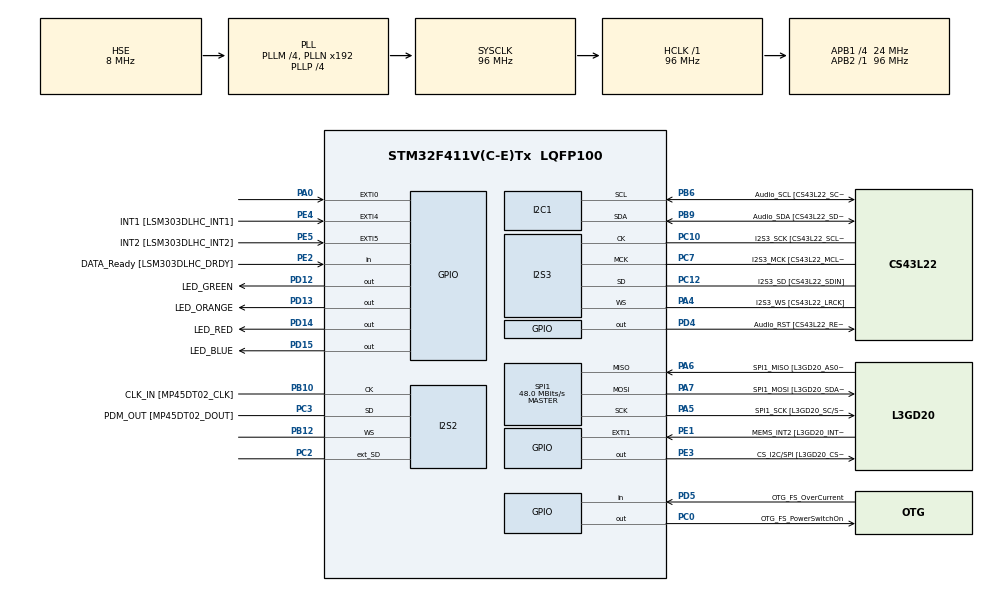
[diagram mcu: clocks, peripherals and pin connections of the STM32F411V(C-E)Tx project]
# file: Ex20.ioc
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FREERTOS.INCLUDE_vTaskDelayUntil=1
FREERTOS.Queues01=QS2R,1,uint16_t,0,Dynamic,NULL,NULL
FREERTOS.Tasks01=Command,0,128,CommandTask,Default,NULL,Dynamic,NULL,NULL;LedFlashing,0,128,LedFlashingTask,Default,NULL,Dynamic,NULL,NULL
FREERTOS.configUSE_NEWLIB_REENTRANT=1
I2S2.AudioFreq=I2S_AUDIOFREQ_96K
I2S2.ErrorAudioFreq=0.15 %
I2S2.FullDuplexMode=I2S_FULLDUPLEXMODE_ENABLE
I2S2.Instance=SPI$Index
I2S2.RealAudioFreq=96.153 KHz
I2S2.VirtualMode=I2S_MODE_MASTER
I2S3.AudioFreq=I2S_AUDIOFREQ_96K
I2S3.ErrorAudioFreq=-6.99 %
I2S3.FullDuplexMode=I2S_FULLDUPLEXMODE_DISABLE
I2S3.Instance=SPI$Index
I2S3.RealAudioFreq=89.285 KHz
I2S3.VirtualMode=I2S_MODE_MASTER
Mcu.Family=STM32F4
Mcu.Name=STM32F411V(C-E)Tx
Mcu.Package=LQFP100
NVIC.PriorityGroup=NVIC_PRIORITYGROUP_4
NVIC.TIM1_UP_TIM10_IRQn=true\:15\:0\:false\:false\:true\:false\:false\:true\:true
NVIC.TimeBase=TIM1_UP_TIM10_IRQn
NVIC.TimeBaseIP=TIM1
PA0-WKUP.GPIO_ModeDefaultEXTI=GPIO_MODE_EVT_RISING
PA0-WKUP.Signal=GPXTI0
PA10.GPIO_Label=OTG_FS_ID
PA10.Signal=USB_OTG_FS_ID
PA11.GPIO_Label=OTG_FS_DM
PA11.Signal=USB_OTG_FS_DM
PA12.GPIO_Label=OTG_FS_DP
PA12.Signal=USB_OTG_FS_DP
PA13.GPIO_Label=SWDIO
PA13.Mode=Serial_Wire
PA13.Signal=SYS_JTMS-SWDIO
PA14.GPIO_Label=SWCLK
PA14.Mode=Serial_Wire
PA14.Signal=SYS_JTCK-SWCLK
PA4.GPIO_Label=I2S3_WS [CS43L22_LRCK]
PA4.GPIO_Mode=GPIO_MODE_AF_PP
PA4.GPIO_PuPd=GPIO_NOPULL
PA4.GPIO_Speed=GPIO_SPEED_FREQ_LOW
PA4.Mode=Half_Duplex_Master
PA4.Signal=I2S3_WS
PA5.GPIO_Label=SPI1_SCK [L3GD20_SC/SPC]
PA5.Mode=Full_Duplex_Master
PA5.Signal=SPI1_SCK
PA6.GPIO_Label=SPI1_MISO [L3GD20_AS0/SDO]
PA6.Mode=Full_Duplex_Master
PA6.Signal=SPI1_MISO
PA7.GPIO_Label=SPI1_MOSI [L3GD20_SDA/SDI/SDO]
PA7.Mode=Full_Duplex_Master
PA7.Signal=SPI1_MOSI
PA9.GPIO_Label=VBUS_FS
PA9.Signal=USB_OTG_FS_VBUS
PB10.GPIO_Label=CLK_IN [MP45DT02_CLK]
PB10.Mode=Full_Duplex_Master
PB10.Signal=I2S2_CK
PB12.Mode=Full_Duplex_Master
PB12.Signal=I2S2_WS
PB3.GPIO_Label=SWO
PB3.Signal=SYS_JTDO-SWO
PB6.GPIO_Label=Audio_SCL [CS43L22_SCL]
PB6.GPIO_Mode=GPIO_MODE_AF_OD
PB6.GPIO_Pu=GPIO_PULLUP
PB6.GPIO_PuPd=GPIO_NOPULL
PB6.GPIO_Speed=GPIO_SPEED_FREQ_LOW
PB6.Mode=I2C
PB6.Signal=I2C1_SCL
PB9.GPIO_Label=Audio_SDA [CS43L22_SDA]
PB9.GPIO_Mode=GPIO_MODE_AF_OD
PB9.GPIO_Pu=GPIO_PULLUP
PB9.GPIO_PuPd=GPIO_NOPULL
PB9.GPIO_Speed=GPIO_SPEED_FREQ_LOW
PB9.Mode=I2C
PB9.Signal=I2C1_SDA
PC0.GPIO_Label=OTG_FS_PowerSwitchOn
PC0.PinState=GPIO_PIN_SET
PC0.Signal=GPIO_Output
PC10.GPIO_Label=I2S3_SCK [CS43L22_SCLK]
PC10.GPIO_Mode=GPIO_MODE_AF_PP
PC10.GPIO_PuPd=GPIO_NOPULL
PC10.GPIO_Speed=GPIO_SPEED_FREQ_LOW
PC10.Mode=Half_Duplex_Master
PC10.Signal=I2S3_CK
PC12.GPIO_Label=I2S3_SD [CS43L22_SDIN]
PC12.GPIO_Mode=GPIO_MODE_AF_PP
PC12.GPIO_PuPd=GPIO_NOPULL
PC12.GPIO_Speed=GPIO_SPEED_FREQ_LOW
PC12.Mode=Half_Duplex_Master
PC12.Signal=I2S3_SD
PC14-OSC32_IN.GPIO_Label=PC14-OSC32_IN
PC14-OSC32_IN.Mode=LSE-External-Oscillator
PC14-OSC32_IN.Signal=RCC_OSC32_IN
PC15-OSC32_OUT.GPIO_Label=PC15-OSC32_OUT
PC15-OSC32_OUT.Mode=LSE-External-Oscillator
PC15-OSC32_OUT.Signal=RCC_OSC32_OUT
PC2.Mode=Full_Duplex_Master
PC2.Signal=I2S2_ext_SD
PC3.GPIO_Label=PDM_OUT [MP45DT02_DOUT]
PC3.Mode=Full_Duplex_Master
PC3.Signal=I2S2_SD
PC7.GPIO_Label=I2S3_MCK [CS43L22_MCLK]
PC7.GPIO_Mode=GPIO_MODE_AF_PP
PC7.GPIO_PuPd=GPIO_NOPULL
PC7.GPIO_Speed=GPIO_SPEED_FREQ_LOW
PC7.Mode=Master_Clock_Activated
PC7.Signal=I2S3_MCK
PD12.GPIO_Label=LED_GREEN
PD12.GPIO_PuPd=GPIO_NOPULL
PD12.GPIO_Speed=GPIO_SPEED_FREQ_LOW
PD12.Signal=GPIO_Output
PD13.GPIO_Label=LED_ORANGE
PD13.GPIO_PuPd=GPIO_NOPULL
PD13.GPIO_Speed=GPIO_SPEED_FREQ_LOW
PD13.Signal=GPIO_Output
PD14.GPIO_Label=LED_RED
PD14.GPIO_PuPd=GPIO_NOPULL
PD14.GPIO_Speed=GPIO_SPEED_FREQ_LOW
PD14.Signal=GPIO_Output
PD15.GPIO_Label=LED_BLUE
PD15.GPIO_PuPd=GPIO_NOPULL
PD15.GPIO_Speed=GPIO_SPEED_FREQ_LOW
PD15.Signal=GPIO_Output
PD4.GPIO_Label=Audio_RST [CS43L22_RESET]
PD4.Signal=GPIO_Output
PD5.GPIO_Label=OTG_FS_OverCurrent
PD5.Signal=GPIO_Input
PE1.GPIO_Label=MEMS_INT2 [L3GD20_INT2]
PE1.GPIO_ModeDefaultEXTI=GPIO_MODE_EVT_RISING
PE1.Signal=GPXTI1
PE2.GPIO_Label=DATA_Ready [LSM303DLHC_DRDY]
PE2.Signal=GPIO_Input
PE3.GPIO_Label=CS_I2C/SPI [L3GD20_CS_I2C/SPI]
PE3.Signal=GPIO_Output
PE4.GPIO_Label=INT1 [LSM303DLHC_INT1]
PE4.GPIO_ModeDefaultEXTI=GPIO_MODE_EVT_RISING
PE4.Signal=GPXTI4
PE5.GPIO_Label=INT2 [LSM303DLHC_INT2]
PE5.GPIO_ModeDefaultEXTI=GPIO_MODE_EVT_RISING
PE5.Signal=GPXTI5
PH0\ -\ OSC_IN.GPIO_Label=PH0-OSC_IN
PH0\ -\ OSC_IN.Mode=HSE-External-Oscillator
PH0\ -\ OSC_IN.Signal=RCC_OSC_IN
PH1\ -\ OSC_OUT.GPIO_Label=PH1-OSC_OUT
PH1\ -\ OSC_OUT.Mode=HSE-External-Oscillator
PH1\ -\ OSC_OUT.Signal=RCC_OSC_OUT
ProjectManager.HeapSize=0x200
ProjectManager.StackSize=0x400
ProjectManager.TargetToolchain=STM32CubeIDE
RCC.48MHZClocksFreq_Value=48000000
RCC.AHBFreq_Value=96000000
RCC.APB1CLKDivider=RCC_HCLK_DIV4
RCC.APB1Freq_Value=24000000
RCC.APB1TimFreq_Value=48000000
RCC.APB2Freq_Value=96000000
RCC.APB2TimFreq_Value=96000000
RCC.CortexFreq_Value=96000000
RCC.HCLKFreq_Value=96000000
RCC.HSE_VALUE=8000000
RCC.HSI_VALUE=16000000
RCC.PLLI2SM=5
RCC.PLLI2SN=200
RCC.PLLM=4
RCC.PLLP=RCC_PLLP_DIV4
RCC.PLLQ=8
RCC.PLLSourceVirtual=RCC_PLLSOURCE_HSE
RCC.SYSCLKFreq_VALUE=96000000
RCC.SYSCLKSource=RCC_SYSCLKSOURCE_PLLCLK
RCC.VCOOutputFreq_Value=384000000
SPI1.BaudRatePrescaler=SPI_BAUDRATEPRESCALER_2
SPI1.CalculateBaudRate=48.0 MBits/s
SPI1.Direction=SPI_DIRECTION_2LINES
SPI1.Mode=SPI_MODE_MASTER
SPI1.VirtualType=VM_MASTER
VP_FREERTOS_VS_CMSIS_V1.Mode=CMSIS_V1
VP_SYS_VS_tim1.Mode=TIM1
board=STM32F411E-DISCO

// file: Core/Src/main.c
/* USER CODE BEGIN Header */
/**
  ******************************************************************************
  * @file           : main.c
  * @brief          : Main program body
  ******************************************************************************
  * @attention
  *
  * Copyright (c) 2024 STMicroelectronics.
  * All rights reserved.
  *
  * This software is licensed under terms that can be found in the LICENSE file
  * in the root directory of this software component.
  * If no LICENSE file comes with this software, it is provided AS-IS.
  *
  ******************************************************************************
  */
/* USER CODE END Header */
#include "main.h"
#include "cmsis_os.h"

/* USER CODE BEGIN Includes */
#include "mailbox.h"
/* USER CODE END Includes */

I2C_HandleTypeDef hi2c1;

I2S_HandleTypeDef hi2s2;
I2S_HandleTypeDef hi2s3;

SPI_HandleTypeDef hspi1;

osThreadId CommandHandle;
osThreadId LedFlashingHandle;
osMessageQId QS2RHandle;

void SystemClock_Config(void);
void PeriphCommonClock_Config(void);
static void MX_GPIO_Init(void);
static void MX_I2C1_Init(void);
static void MX_I2S2_Init(void);
static void MX_I2S3_Init(void);
static void MX_SPI1_Init(void);
void CommandTask(void const * argument);
void LedFlashingTask(void const * argument);

int main(void)
{

  /* MCU Configuration--------------------------------------------------------*/

  /* Reset of all peripherals, Initializes the Flash interface and the Systick. */
  HAL_Init();

  /* Configure the system clock */
  SystemClock_Config();

/* Configure the peripherals common clocks */
  PeriphCommonClock_Config();

  /* Initialize all configured peripherals */
  MX_GPIO_Init();
  MX_I2C1_Init();
  MX_I2S2_Init();
  MX_I2S3_Init();
  MX_SPI1_Init();

  /* Create the queue(s) */
  /* definition and creation of QS2R */
  osMessageQDef(QS2R, 1, uint16_t);
  QS2RHandle = osMessageCreate(osMessageQ(QS2R), NULL);

  /* Create the thread(s) */
  /* definition and creation of Command */
  osThreadDef(Command, CommandTask, osPriorityNormal, 0, 128);
  CommandHandle = osThreadCreate(osThread(Command), NULL);

  /* definition and creation of LedFlashing */
  osThreadDef(LedFlashing, LedFlashingTask, osPriorityNormal, 0, 128);
  LedFlashingHandle = osThreadCreate(osThread(LedFlashing), NULL);

  /* Start scheduler */
  osKernelStart();

  /* We should never get here as control is now taken by the scheduler */

  /* Infinite loop */
  while (1)
  {

  }
}

void SystemClock_Config(void)
{
  RCC_OscInitTypeDef RCC_OscInitStruct = {0};
  RCC_ClkInitTypeDef RCC_ClkInitStruct = {0};

  /** Configure the main internal regulator output voltage
  */
  __HAL_RCC_PWR_CLK_ENABLE();
  __HAL_PWR_VOLTAGESCALING_CONFIG(PWR_REGULATOR_VOLTAGE_SCALE1);

  /** Initializes the RCC Oscillators according to the specified parameters
  * in the RCC_OscInitTypeDef structure.
  */
  RCC_OscInitStruct.OscillatorType = RCC_OSCILLATORTYPE_HSE;
  RCC_OscInitStruct.HSEState = RCC_HSE_ON;
  RCC_OscInitStruct.PLL.PLLState = RCC_PLL_ON;
  RCC_OscInitStruct.PLL.PLLSource = RCC_PLLSOURCE_HSE;
  RCC_OscInitStruct.PLL.PLLM = 4;
  RCC_OscInitStruct.PLL.PLLN = 192;
  RCC_OscInitStruct.PLL.PLLP = RCC_PLLP_DIV4;
  RCC_OscInitStruct.PLL.PLLQ = 8;
  if (HAL_RCC_OscConfig(&RCC_OscInitStruct) != HAL_OK)
  {
    Error_Handler();
  }

  /** Initializes the CPU, AHB and APB buses clocks
  */
  RCC_ClkInitStruct.ClockType = RCC_CLOCKTYPE_HCLK|RCC_CLOCKTYPE_SYSCLK
                              |RCC_CLOCKTYPE_PCLK1|RCC_CLOCKTYPE_PCLK2;
  RCC_ClkInitStruct.SYSCLKSource = RCC_SYSCLKSOURCE_PLLCLK;
  RCC_ClkInitStruct.AHBCLKDivider = RCC_SYSCLK_DIV1;
  RCC_ClkInitStruct.APB1CLKDivider = RCC_HCLK_DIV4;
  RCC_ClkInitStruct.APB2CLKDivider = RCC_HCLK_DIV1;

  if (HAL_RCC_ClockConfig(&RCC_ClkInitStruct, FLASH_LATENCY_3) != HAL_OK)
  {
    Error_Handler();
  }
}

void PeriphCommonClock_Config(void)
{
  RCC_PeriphCLKInitTypeDef PeriphClkInitStruct = {0};

  /** Initializes the peripherals clock
  */
  PeriphClkInitStruct.PeriphClockSelection = RCC_PERIPHCLK_I2S;
  PeriphClkInitStruct.PLLI2S.PLLI2SN = 200;
  PeriphClkInitStruct.PLLI2S.PLLI2SM = 5;
  PeriphClkInitStruct.PLLI2S.PLLI2SR = 2;
  if (HAL_RCCEx_PeriphCLKConfig(&PeriphClkInitStruct) != HAL_OK)
  {
    Error_Handler();
  }
}

static void MX_I2C1_Init(void)
{

  hi2c1.Instance = I2C1;
  hi2c1.Init.ClockSpeed = 100000;
  hi2c1.Init.DutyCycle = I2C_DUTYCYCLE_2;
  hi2c1.Init.OwnAddress1 = 0;
  hi2c1.Init.AddressingMode = I2C_ADDRESSINGMODE_7BIT;
  hi2c1.Init.DualAddressMode = I2C_DUALADDRESS_DISABLE;
  hi2c1.Init.OwnAddress2 = 0;
  hi2c1.Init.GeneralCallMode = I2C_GENERALCALL_DISABLE;
  hi2c1.Init.NoStretchMode = I2C_NOSTRETCH_DISABLE;
  if (HAL_I2C_Init(&hi2c1) != HAL_OK)
  {
    Error_Handler();
  }

}

static void MX_I2S2_Init(void)
{

  hi2s2.Instance = SPI2;
  hi2s2.Init.Mode = I2S_MODE_MASTER_TX;
  hi2s2.Init.Standard = I2S_STANDARD_PHILIPS;
  hi2s2.Init.DataFormat = I2S_DATAFORMAT_16B;
  hi2s2.Init.MCLKOutput = I2S_MCLKOUTPUT_DISABLE;
  hi2s2.Init.AudioFreq = I2S_AUDIOFREQ_96K;
  hi2s2.Init.CPOL = I2S_CPOL_LOW;
  hi2s2.Init.ClockSource = I2S_CLOCK_PLL;
  hi2s2.Init.FullDuplexMode = I2S_FULLDUPLEXMODE_ENABLE;
  if (HAL_I2S_Init(&hi2s2) != HAL_OK)
  {
    Error_Handler();
  }

}

static void MX_I2S3_Init(void)
{

  hi2s3.Instance = SPI3;
  hi2s3.Init.Mode = I2S_MODE_MASTER_TX;
  hi2s3.Init.Standard = I2S_STANDARD_PHILIPS;
  hi2s3.Init.DataFormat = I2S_DATAFORMAT_16B;
  hi2s3.Init.MCLKOutput = I2S_MCLKOUTPUT_ENABLE;
  hi2s3.Init.AudioFreq = I2S_AUDIOFREQ_96K;
  hi2s3.Init.CPOL = I2S_CPOL_LOW;
  hi2s3.Init.ClockSource = I2S_CLOCK_PLL;
  hi2s3.Init.FullDuplexMode = I2S_FULLDUPLEXMODE_DISABLE;
  if (HAL_I2S_Init(&hi2s3) != HAL_OK)
  {
    Error_Handler();
  }

}

static void MX_SPI1_Init(void)
{

  /* SPI1 parameter configuration*/
  hspi1.Instance = SPI1;
  hspi1.Init.Mode = SPI_MODE_MASTER;
  hspi1.Init.Direction = SPI_DIRECTION_2LINES;
  hspi1.Init.DataSize = SPI_DATASIZE_8BIT;
  hspi1.Init.CLKPolarity = SPI_POLARITY_LOW;
  hspi1.Init.CLKPhase = SPI_PHASE_1EDGE;
  hspi1.Init.NSS = SPI_NSS_SOFT;
  hspi1.Init.BaudRatePrescaler = SPI_BAUDRATEPRESCALER_2;
  hspi1.Init.FirstBit = SPI_FIRSTBIT_MSB;
  hspi1.Init.TIMode = SPI_TIMODE_DISABLE;
  hspi1.Init.CRCCalculation = SPI_CRCCALCULATION_DISABLE;
  hspi1.Init.CRCPolynomial = 10;
  if (HAL_SPI_Init(&hspi1) != HAL_OK)
  {
    Error_Handler();
  }

}

static void MX_GPIO_Init(void)
{
  GPIO_InitTypeDef GPIO_InitStruct = {0};

  /* GPIO Ports Clock Enable */
  __HAL_RCC_GPIOE_CLK_ENABLE();
  __HAL_RCC_GPIOC_CLK_ENABLE();
  __HAL_RCC_GPIOH_CLK_ENABLE();
  __HAL_RCC_GPIOA_CLK_ENABLE();
  __HAL_RCC_GPIOB_CLK_ENABLE();
  __HAL_RCC_GPIOD_CLK_ENABLE();

  /*Configure GPIO pin Output Level */
  HAL_GPIO_WritePin(CS_I2C_SPI_GPIO_Port, CS_I2C_SPI_Pin, GPIO_PIN_RESET);

  /*Configure GPIO pin Output Level */
  HAL_GPIO_WritePin(OTG_FS_PowerSwitchOn_GPIO_Port, OTG_FS_PowerSwitchOn_Pin, GPIO_PIN_SET);

  /*Configure GPIO pin Output Level */
  HAL_GPIO_WritePin(GPIOD, LED_GREEN_Pin|LED_ORANGE_Pin|LED_RED_Pin|LED_BLUE_Pin
                          |Audio_RST_Pin, GPIO_PIN_RESET);

  /*Configure GPIO pin : DATA_Ready_Pin */
  GPIO_InitStruct.Pin = DATA_Ready_Pin;
  GPIO_InitStruct.Mode = GPIO_MODE_INPUT;
  GPIO_InitStruct.Pull = GPIO_NOPULL;
  HAL_GPIO_Init(DATA_Ready_GPIO_Port, &GPIO_InitStruct);

  /*Configure GPIO pin : CS_I2C_SPI_Pin */
  GPIO_InitStruct.Pin = CS_I2C_SPI_Pin;
  GPIO_InitStruct.Mode = GPIO_MODE_OUTPUT_PP;
  GPIO_InitStruct.Pull = GPIO_NOPULL;
  GPIO_InitStruct.Speed = GPIO_SPEED_FREQ_LOW;
  HAL_GPIO_Init(CS_I2C_SPI_GPIO_Port, &GPIO_InitStruct);

  /*Configure GPIO pins : INT1_Pin INT2_Pin MEMS_INT2_Pin */
  GPIO_InitStruct.Pin = INT1_Pin|INT2_Pin|MEMS_INT2_Pin;
  GPIO_InitStruct.Mode = GPIO_MODE_EVT_RISING;
  GPIO_InitStruct.Pull = GPIO_NOPULL;
  HAL_GPIO_Init(GPIOE, &GPIO_InitStruct);

  /*Configure GPIO pin : OTG_FS_PowerSwitchOn_Pin */
  GPIO_InitStruct.Pin = OTG_FS_PowerSwitchOn_Pin;
  GPIO_InitStruct.Mode = GPIO_MODE_OUTPUT_PP;
  GPIO_InitStruct.Pull = GPIO_NOPULL;
  GPIO_InitStruct.Speed = GPIO_SPEED_FREQ_LOW;
  HAL_GPIO_Init(OTG_FS_PowerSwitchOn_GPIO_Port, &GPIO_InitStruct);

  /*Configure GPIO pin : PA0 */
  GPIO_InitStruct.Pin = GPIO_PIN_0;
  GPIO_InitStruct.Mode = GPIO_MODE_EVT_RISING;
  GPIO_InitStruct.Pull = GPIO_NOPULL;
  HAL_GPIO_Init(GPIOA, &GPIO_InitStruct);

  /*Configure GPIO pins : LED_GREEN_Pin LED_ORANGE_Pin LED_RED_Pin LED_BLUE_Pin
                           Audio_RST_Pin */
  GPIO_InitStruct.Pin = LED_GREEN_Pin|LED_ORANGE_Pin|LED_RED_Pin|LED_BLUE_Pin
                          |Audio_RST_Pin;
  GPIO_InitStruct.Mode = GPIO_MODE_OUTPUT_PP;
  GPIO_InitStruct.Pull = GPIO_NOPULL;
  GPIO_InitStruct.Speed = GPIO_SPEED_FREQ_LOW;
  HAL_GPIO_Init(GPIOD, &GPIO_InitStruct);

  /*Configure GPIO pin : VBUS_FS_Pin */
  GPIO_InitStruct.Pin = VBUS_FS_Pin;
  GPIO_InitStruct.Mode = GPIO_MODE_INPUT;
  GPIO_InitStruct.Pull = GPIO_NOPULL;
  HAL_GPIO_Init(VBUS_FS_GPIO_Port, &GPIO_InitStruct);

  /*Configure GPIO pins : OTG_FS_ID_Pin OTG_FS_DM_Pin OTG_FS_DP_Pin */
  GPIO_InitStruct.Pin = OTG_FS_ID_Pin|OTG_FS_DM_Pin|OTG_FS_DP_Pin;
  GPIO_InitStruct.Mode = GPIO_MODE_AF_PP;
  GPIO_InitStruct.Pull = GPIO_NOPULL;
  GPIO_InitStruct.Speed = GPIO_SPEED_FREQ_VERY_HIGH;
  GPIO_InitStruct.Alternate = GPIO_AF10_OTG_FS;
  HAL_GPIO_Init(GPIOA, &GPIO_InitStruct);

  /*Configure GPIO pin : OTG_FS_OverCurrent_Pin */
  GPIO_InitStruct.Pin = OTG_FS_OverCurrent_Pin;
  GPIO_InitStruct.Mode = GPIO_MODE_INPUT;
  GPIO_InitStruct.Pull = GPIO_NOPULL;
  HAL_GPIO_Init(OTG_FS_OverCurrent_GPIO_Port, &GPIO_InitStruct);

}

/* USER CODE BEGIN 4 */
void Flash10Hz(uint16_t color,int time)
{
	for(int i=0;i<time*10;i++)
	{
		HAL_GPIO_WritePin(GPIOD, color, GPIO_PIN_SET);
		osDelay(50);
		HAL_GPIO_WritePin(GPIOD, color, GPIO_PIN_RESET);
		osDelay(50);
	}
}

void Flash1Hz(uint16_t color,int time)
{
	for(int i=0;i<time;i++)
	{
		HAL_GPIO_WritePin(GPIOD, color, GPIO_PIN_SET);
		osDelay(500);
		HAL_GPIO_WritePin(GPIOD, color, GPIO_PIN_RESET);
		osDelay(500);
	}
}
/* USER CODE END 4 */

void CommandTask(void const * argument)
{
  /* USER CODE BEGIN 5 */
	InitMailBox();
  /* Infinite loop */
  for(;;)
  {
    Flash1Hz(LED_RED_Pin, 10);
    Post(1);
    Flash10Hz(LED_RED_Pin, 5);
    Post(2);
  }
  /* USER CODE END 5 */
}

void LedFlashingTask(void const * argument)
{
  /* USER CODE BEGIN LedFlashingTask */
	InitMailBox();
	int data;
  /* Infinite loop */
  for(;;)
  {
	  Flash10Hz(LED_GREEN_Pin, 5);
	  data = Pend();
	  if (data == 1)
	  {
		  HAL_GPIO_WritePin(GPIOD, LED_ORANGE_Pin, GPIO_PIN_SET);
		  HAL_GPIO_WritePin(GPIOD, LED_BLUE_Pin, GPIO_PIN_RESET);
	  }
	  else if (data == 2)
	  {
		  HAL_GPIO_WritePin(GPIOD, LED_BLUE_Pin, GPIO_PIN_SET);
		  HAL_GPIO_WritePin(GPIOD, LED_ORANGE_Pin, GPIO_PIN_RESET);
	  }

	  Flash1Hz(LED_GREEN_Pin, 10);
	  data = Pend();
	  if (data == 1)
	  {
		  HAL_GPIO_WritePin(GPIOD, LED_ORANGE_Pin, GPIO_PIN_SET);
		  HAL_GPIO_WritePin(GPIOD, LED_BLUE_Pin, GPIO_PIN_RESET);
	  }
	  else if (data == 2)
	  {
		  HAL_GPIO_WritePin(GPIOD, LED_BLUE_Pin, GPIO_PIN_SET);
		  HAL_GPIO_WritePin(GPIOD, LED_ORANGE_Pin, GPIO_PIN_RESET);
	  }

  }
  /* USER CODE END LedFlashingTask */
}

void HAL_TIM_PeriodElapsedCallback(TIM_HandleTypeDef *htim)
{
  if (htim->Instance == TIM1) {
    HAL_IncTick();
  }
}

void Error_Handler(void)
{
  __disable_irq();
  while (1)
  {
  }
}
